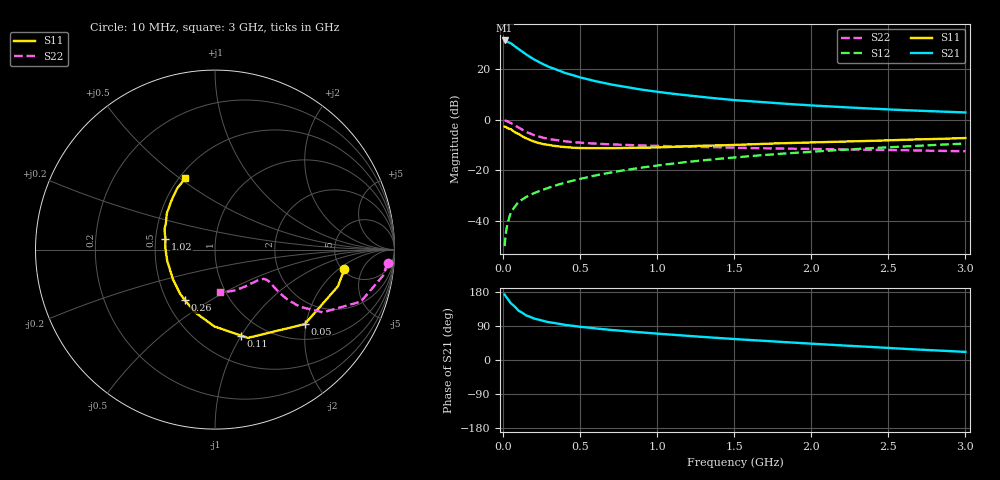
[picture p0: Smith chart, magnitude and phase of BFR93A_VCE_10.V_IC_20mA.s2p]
! Infineon Technologies  Discrete & RF Semiconductors
! BFR93A
! VCE =  10. V,  IC =  20 mA
! Common Emitter S-Parameters:  Nov 2015
# GHz  S  MA  R  50
!  f  S11  S21  S12  S22
! GHz  MAG  ANG  MAG  ANG  MAG  ANG  MAG  ANG
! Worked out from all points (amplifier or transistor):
!   180 points, 10 MHz to 3 GHz, reference 50 ohm
!   highest |S21| = 31.4 dB at 10 MHz (marker M1)
!   |S21| within 3 dB of that: start of sweep to 91.83 MHz
!   unconditionally stable (mu >= 1): 465.9 MHz to 2.701 GHz
!   at 160 MHz: K = 0.65, MSG = 27.9 dB, |S12| = -30.3 dB
!   at 1.22 GHz: K = 1.08, MAG = 11.3 dB, |S12| = -16.6 dB
!   at 3 GHz: K = 0.97, MSG = 6.2 dB, |S12| = -9.5 dB
!   S11 on the Smith chart (normalised r, x): 10 MHz: 5.26, -2.40; 50 MHz: 1.37, -1.97; 110 MHz: 0.78, -1.00; 260 MHz: 0.62, -0.39; 1.02 GHz: 0.56, +0.07; 3 GHz: 0.53, +0.53
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0.01  0.7293 -8.4  37.28 172.8  0.0031 84.5  0.9642 -4.4
0.02  0.715 -16.6  36.52 166.6  0.0062 80.5  0.9486 -8.7
0.05  0.65 -39.7  32.86 149.8  0.0141 72.6  0.863 -19.6
0.1  0.5249 -69.6  25.43 130.1  0.0232 64.5  0.6953 -30.2
0.11  0.5009 -73.1  24.19 128.1  0.0244 63.9  0.6705 -30.8
0.15  0.4283 -90.4  19.63 117.5  0.0294 61.9  0.5721 -33.9
0.2  0.3701 -106.2  15.72 109.6  0.0349 62.4  0.4953 -34.6
0.24  0.3387 -116.0  13.55 105.1  0.039 62.8  0.4551 -34.2
0.26  0.3282 -120.5  12.63 103.0  0.041 63.2  0.4385 -33.9
0.3  0.3139 -128.2  11.08 99.5  0.0452 64.3  0.412 -33.2
0.4  0.2871 -144.5  8.486 92.7  0.0561 66.1  0.3713 -31.6
0.5  0.2739 -157.0  6.893 87.5  0.0669 67.4  0.3492 -30.6
0.52  0.2733 -158.9  6.672 86.8  0.0692 67.5  0.3461 -30.5
0.6  0.2737 -166.3  5.8 83.2  0.0785 67.9  0.3339 -30.3
0.7  0.2724 -173.1  5.005 79.3  0.0897 67.9  0.3236 -30.6
0.9  0.2791 174.1  3.938 72.8  0.112 67.4  0.3076 -32.2
1.02  0.2827 168.1  3.51 69.0  0.1255 66.6  0.3018 -33.5
1.3  0.3053 156.6  2.802 60.7  0.1566 64.4  0.2876 -38.1
1.52  0.317 149.1  2.422 54.8  0.1804 62.6  0.2776 -42.3
2.02  0.3549 135.0  1.903 42.7  0.2335 57.8  0.262 -53.7
2.52  0.3922 123.7  1.589 31.4  0.286 52.5  0.2501 -66.9
3  0.4329 112.6  1.391 21.4  0.3363 47.3  0.2373 -83.0
